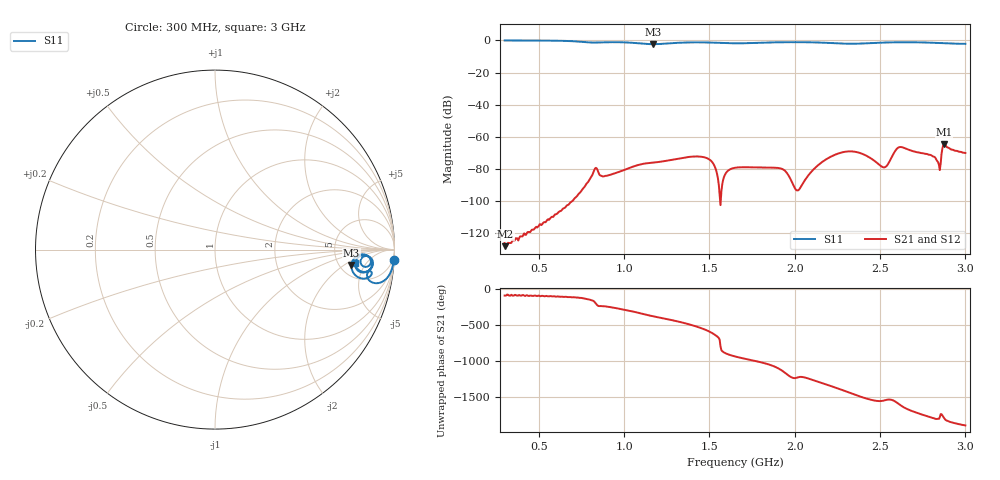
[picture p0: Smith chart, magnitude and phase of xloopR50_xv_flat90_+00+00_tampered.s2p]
! xloopR50_xv_flat90_+00+00_tampered, gap C 0.80 pF
! simulated by sim/fixtures_fdtd.py (S12 = S21, S22 not computed)
# HZ S RI R 50
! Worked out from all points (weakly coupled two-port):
!   541 points, 300 MHz to 3 GHz, reference 50 ohm
!   highest |S21| = -64.52 dB at 2.875 GHz (marker M1); lowest = -128.0 dB at 305 MHz (marker M2)
!   lowest |S11| = -2.3 dB at 1.17 GHz (marker M3), VSWR 7.52, Z = 319 - j133 ohm
!   |S11| at or under -10 dB: nowhere
!   |S22| runs from - to - dB; largest |S21 - S12| = 0
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3e8  0.9966 -0.0577  0 -5e-07  0 -5e-07  0 0
3.05e8  0.9964 -0.0587  -0 -4e-07  -0 -4e-07  0 0
7.5e8  0.8858 -0.1859  -1.16e-05 -1.77e-05  -1.16e-05 -1.77e-05  0 0
1.01e9  0.853 -0.1565  3.52e-05 9.13e-05  3.52e-05 9.13e-05  0 0
1.17e9  0.7604 -0.0863  0.00015 -5.18e-05  0.00015 -5.18e-05  0 0
1.2e9  0.7692 -0.058  0.000138 -9.15e-05  0.000138 -9.15e-05  0 0
1.44e9  0.8678 -0.0733  -0.000244 -2.46e-05  -0.000244 -2.46e-05  0 0
1.5e9  0.8563 -0.091  -0.000122 0.000157  -0.000122 0.000157  0 0
1.545e9  0.8407 -0.0963  3.43e-05 6.12e-05  3.43e-05 6.12e-05  0 0
1.65e9  0.8109 -0.0711  -8.53e-05 6.86e-05  -8.53e-05 6.86e-05  0 0
2.1e9  0.8659 -0.1099  -8.53e-05 2.5e-06  -8.53e-05 2.5e-06  0 0
2.215e9  0.8197 -0.123  1.61e-05 0.000247  1.61e-05 0.000247  0 0
2.31e9  0.7836 -0.0849  0.000351 3.32e-05  0.000351 3.32e-05  0 0
2.405e9  0.8071 -0.0364  7.49e-05 -0.000273  7.49e-05 -0.000273  0 0
2.515e9  0.856 -0.0402  -5.33e-05 -0.000103  -5.33e-05 -0.000103  0 0
2.55e9  0.8655 -0.0498  -2.29e-05 -0.000152  -2.29e-05 -0.000152  0 0
2.59e9  0.8722 -0.0626  -0.000231 -0.000294  -0.000231 -0.000294  0 0
2.62e9  0.8745 -0.0729  -0.000485 -7.1e-06  -0.000485 -7.1e-06  0 0
2.805e9  0.8394 -0.1258  0.000256 2.3e-05  0.000256 2.3e-05  0 0
2.845e9  0.8217 -0.1275  0.000134 -1.85e-05  0.000134 -1.85e-05  0 0
2.875e9  0.8077 -0.1241  0.000594 3.11e-05  0.000594 3.11e-05  0 0
3e9  0.7825 -0.0726  -5.8e-05 -0.000311  -5.8e-05 -0.000311  0 0
